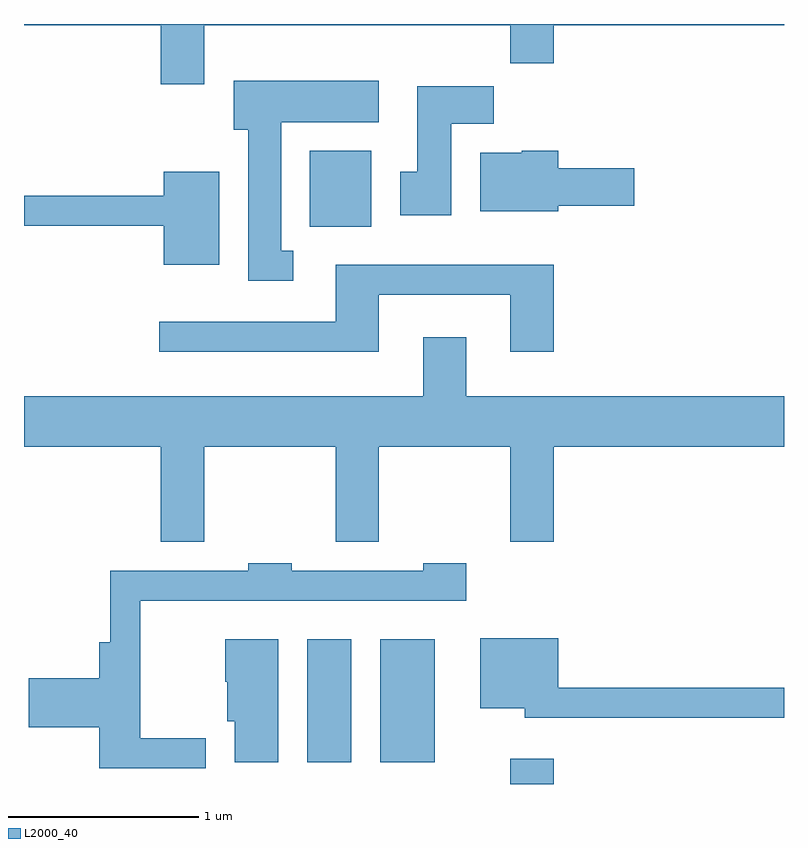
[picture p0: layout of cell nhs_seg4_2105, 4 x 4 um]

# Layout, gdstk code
import gdstk
lib = gdstk.Library(unit=1e-6, precision=1e-09)
def R(c, l, rs):  # rectangles x0, y0, x1, y1
    for r in rs: c.add(gdstk.rectangle(r[:2], r[2:], *l))
def P(c, l, *ps):  # polygons
    for p in ps: c.add(gdstk.Polygon(p, *l))
L2000_40 = (2000, 40)

nhs_seg4_2105 = lib.new_cell('nhs_seg4_2105')
R(nhs_seg4_2105, L2000_40, [(248.171,1383.982,248.399,1384.114), (247.101,1384.096,247.334,1384.744), (247.486,1384.096,247.774,1384.744), (247.116,1386.916,247.439,1387.314)])
P(nhs_seg4_2105, L2000_40, [(246.559,1387.976),(248.171,1387.976),(248.171,1387.776),(248.399,1387.776),(248.399,1387.976),(249.611,1387.976),(249.611,1387.982),(245.611,1387.982),(245.611,1387.976),(246.331,1387.976),(246.331,1387.666),(246.559,1387.666)],
  [(247.028,1386.789),(246.964,1386.789),(246.964,1387.466),(247.479,1387.466),(247.479,1387.684),(246.716,1387.684),(246.716,1387.426),(246.791,1387.426),(246.791,1386.631),(247.028,1386.631)],
  [(247.859,1387.456),(248.084,1387.456),(248.084,1387.654),(247.681,1387.654),(247.681,1387.204),(247.591,1387.204),(247.591,1386.976),(247.859,1386.976)],
  [(248.424,1387.026),(248.824,1387.026),(248.824,1387.224),(248.424,1387.224),(248.424,1387.314),(248.23,1387.314),(248.23,1387.304),(248.011,1387.304),(248.011,1386.996),(248.424,1386.996)],
  [(246.639,1387.204),(246.346,1387.204),(246.346,1387.079),(245.611,1387.079),(245.611,1386.921),(246.346,1386.921),(246.346,1386.716),(246.639,1386.716)],
  [(247.479,1386.556),(248.171,1386.556),(248.171,1386.256),(248.399,1386.256),(248.399,1386.714),(247.251,1386.714),(247.251,1386.414),(246.323,1386.414),(246.323,1386.256),(247.479,1386.256)],
  [(246.559,1385.756),(247.251,1385.756),(247.251,1385.256),(247.479,1385.256),(247.479,1385.756),(248.171,1385.756),(248.171,1385.256),(248.399,1385.256),(248.399,1385.756),(249.611,1385.756),(249.611,1386.024),(247.939,1386.024),(247.939,1386.334),(247.711,1386.334),(247.711,1386.024),(245.611,1386.024),(245.611,1385.756),(246.331,1385.756),(246.331,1385.256),(246.559,1385.256)],
  [(246.568,1384.224),(246.224,1384.224),(246.224,1384.946),(247.939,1384.946),(247.939,1385.144),(247.711,1385.144),(247.711,1385.104),(247.019,1385.104),(247.019,1385.144),(246.791,1385.144),(246.791,1385.104),(246.066,1385.104),(246.066,1384.729),(246.006,1384.729),(246.006,1384.539),(245.636,1384.539),(245.636,1384.281),(246.006,1384.281),(246.006,1384.066),(246.568,1384.066)],
  [(249.611,1384.489),(248.424,1384.489),(248.424,1384.749),(248.011,1384.749),(248.011,1384.381),(248.246,1384.381),(248.246,1384.331),(249.611,1384.331)],
  [(246.949,1384.744),(246.671,1384.744),(246.671,1384.52),(246.681,1384.52),(246.681,1384.311),(246.721,1384.311),(246.721,1384.096),(246.949,1384.096)])

lib.write_gds('nhs_seg4_2105.gds')
